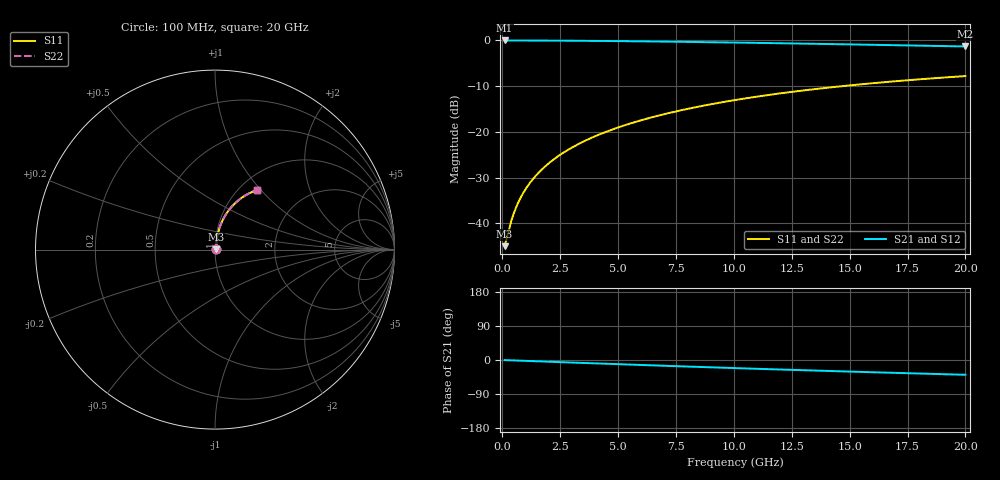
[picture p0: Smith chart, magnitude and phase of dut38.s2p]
! Touchstone file exported from HFSS 2024.1.0
!  File:  C:/UserFiles/LocalFiles/RDL_TSV_Batchsim/temp_RDL_top_38_1778680871.aedt
!  Generated:  10:03:36 PM May 13, 2026
!  Design:  RDL_top
!  Project:  temp_RDL_top_38_1778680871
!  Setup:  Setup1
!  Solution:  Sweep
! Variables:
!  dtsv = 10.80580581um
!  hbump = 3um
!  htsv = 94.08um
!  ldown = 100um
!  lrdl = 524.6um
!  p = 40
!  p1 = 42.16um
!  rhole = 1um
!  t = 450um
!  tdown = 3.915915916um
!  trdl = 2.53um
!  wdown = 15.38538539um
!  wrdl = 14.76um
# GHz S MA R 50.000000
! Terminal data exported
! Port[1] = Box2_T1
! Port[2] = Box2_T2
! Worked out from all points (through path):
!   200 points, 100 MHz to 20 GHz, reference 50 ohm
!   highest |S21| = -0.04 dB at 100 MHz (marker M1); lowest = -1.4 dB at 20 GHz (marker M2)
!   group delay of S21, straight-line fit = 5.42 ps
!   lowest |S11| = -45.0 dB at 100 MHz (marker M3), VSWR 1.01, Z = 50.5 + j0.241 ohm
!   |S11| at or under -10 dB: start of sweep to 14.72 GHz
!   |S22| runs from -45.0 to -7.8 dB; largest |S21 - S12| = 3.5e-15
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0.1  0.005652 24.9  0.9949 -0.2  0.9949 -0.2  0.005652 24.9
! Gamma 0 0 0 0
! Port Impedance 50 0 50 0
0.3  0.008866 53.0  0.9947 -0.7  0.9947 -0.7  0.008866 53.0
0.4  0.01087 59.6  0.9945 -0.9  0.9945 -0.9  0.01087 59.6
0.5  0.01295 64.0  0.9943 -1.2  0.9943 -1.2  0.01295 64.0
0.6  0.01505 67.1  0.9941 -1.4  0.9941 -1.4  0.01505 67.1
0.7  0.01718 69.4  0.9939 -1.6  0.9939 -1.6  0.01718 69.4
0.9  0.02144 72.6  0.9936 -2.1  0.9936 -2.1  0.02144 72.6
1.2  0.02787 75.6  0.993 -2.7  0.993 -2.7  0.02787 75.6
1.4  0.03218 76.8  0.9926 -3.2  0.9926 -3.2  0.03218 76.8
1.7  0.03868 78.1  0.992 -3.8  0.992 -3.8  0.03868 78.1
2.2  0.0496 79.3  0.9907 -5.0  0.9907 -5.0  0.0496 79.3
2.8  0.06279 79.9  0.9889 -6.3  0.9889 -6.3  0.06279 79.9
3.5  0.07827 79.9  0.9863 -7.8  0.9863 -7.8  0.07827 79.9
4.2  0.09382 79.5  0.9832 -9.3  0.9832 -9.3  0.09383 79.6
5  0.1116 78.8  0.9792 -11.1  0.9792 -11.1  0.1117 78.8
5.9  0.1317 77.8  0.974 -13.0  0.974 -13.0  0.1317 77.8
6.8  0.1517 76.6  0.9683 -14.9  0.9683 -14.9  0.1517 76.6
8.4  0.1869 74.1  0.957 -18.1  0.957 -18.1  0.187 74.2
10.1  0.2235 71.4  0.9438 -21.5  0.9438 -21.5  0.2236 71.4
13.4  0.2909 65.7  0.9156 -27.7  0.9156 -27.7  0.2911 65.8
16.7  0.3522 60.1  0.8857 -33.6  0.8857 -33.6  0.3524 60.2
20  0.4065 54.8  0.8555 -39.0  0.8555 -39.0  0.4068 54.8
